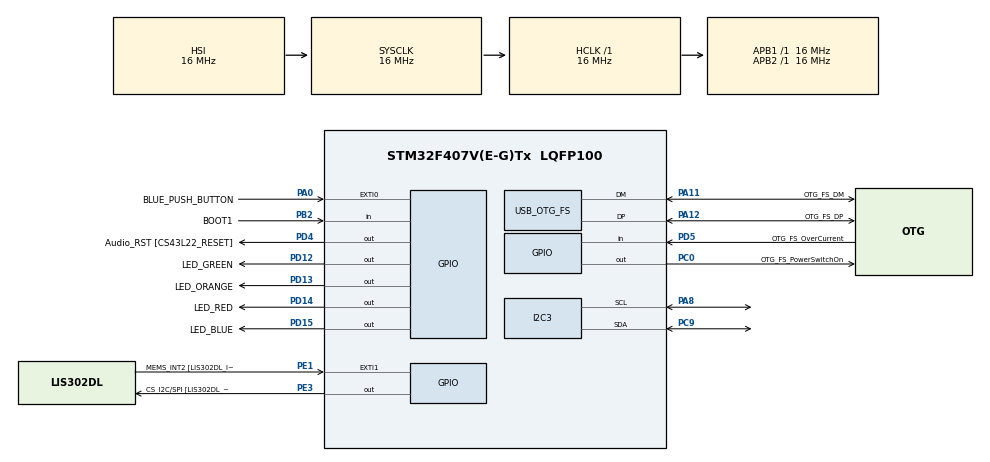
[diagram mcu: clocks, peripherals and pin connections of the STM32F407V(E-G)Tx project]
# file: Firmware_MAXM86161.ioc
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Mcu.Family=STM32F4
Mcu.Name=STM32F407V(E-G)Tx
Mcu.Package=LQFP100
NVIC.EXTI0_IRQn=true\:0\:0\:false\:false\:true\:true\:true
NVIC.OTG_FS_IRQn=true\:0\:0\:false\:false\:true\:false\:true
NVIC.PriorityGroup=NVIC_PRIORITYGROUP_0
PA0-WKUP.GPIO_Label=BLUE_PUSH_BUTTON
PA0-WKUP.GPIO_ModeDefaultEXTI=GPIO_MODE_IT_FALLING
PA0-WKUP.Signal=GPXTI0
PA10.GPIO_Label=OTG_FS_ID
PA10.GPIO_Mode=GPIO_MODE_AF_PP
PA10.GPIO_PuPd=GPIO_NOPULL
PA10.GPIO_Speed=GPIO_SPEED_FREQ_LOW
PA10.Signal=USB_OTG_FS_ID
PA11.GPIO_Label=OTG_FS_DM
PA11.GPIO_Mode=GPIO_MODE_AF_PP
PA11.GPIO_PuPd=GPIO_NOPULL
PA11.GPIO_Speed=GPIO_SPEED_FREQ_LOW
PA11.Mode=Device_Only
PA11.Signal=USB_OTG_FS_DM
PA12.GPIO_Label=OTG_FS_DP
PA12.GPIO_Mode=GPIO_MODE_AF_PP
PA12.GPIO_PuPd=GPIO_NOPULL
PA12.GPIO_Speed=GPIO_SPEED_FREQ_LOW
PA12.Mode=Device_Only
PA12.Signal=USB_OTG_FS_DP
PA13.GPIO_Label=SWDIO
PA13.Signal=SYS_JTMS-SWDIO
PA14.GPIO_Label=SWCLK
PA14.Signal=SYS_JTCK-SWCLK
PA4.GPIO_Label=I2S3_WS [CS43L22_LRCK]
PA4.GPIO_Mode=GPIO_MODE_AF_PP
PA4.GPIO_PuPd=GPIO_NOPULL
PA4.GPIO_Speed=GPIO_SPEED_FREQ_LOW
PA4.Signal=I2S3_WS
PA5.GPIO_Label=SPI1_SCK [LIS302DL_SCL/SPC]
PA5.GPIO_Mode=GPIO_MODE_AF_PP
PA5.GPIO_PuPd=GPIO_NOPULL
PA5.GPIO_Speed=GPIO_SPEED_FREQ_LOW
PA5.Signal=SPI1_SCK
PA6.GPIO_Label=SPI1_MISO [LIS302DL_SDO]
PA6.GPIO_Mode=GPIO_MODE_AF_PP
PA6.GPIO_PuPd=GPIO_NOPULL
PA6.GPIO_Speed=GPIO_SPEED_FREQ_LOW
PA6.Signal=SPI1_MISO
PA7.GPIO_Label=SPI1_MOSI [LIS302DL_SDA/SDI/SDO]
PA7.GPIO_Mode=GPIO_MODE_AF_PP
PA7.GPIO_PuPd=GPIO_NOPULL
PA7.GPIO_Speed=GPIO_SPEED_FREQ_LOW
PA7.Signal=SPI1_MOSI
PA8.GPIO_Pu=GPIO_PULLUP
PA8.GPIO_Speed=GPIO_SPEED_FREQ_MEDIUM
PA8.Mode=I2C
PA8.Signal=I2C3_SCL
PA9.GPIO_Label=VBUS_FS
PA9.GPIO_Mode=GPIO_MODE_INPUT
PA9.GPIO_PuPd=GPIO_NOPULL
PA9.Signal=USB_OTG_FS_VBUS
PB10.GPIO_Label=CLK_IN [MP45DT02_CLK]
PB10.GPIO_Mode=GPIO_MODE_AF_PP
PB10.GPIO_PuPd=GPIO_NOPULL
PB10.GPIO_Speed=GPIO_SPEED_FREQ_LOW
PB10.Signal=I2S2_CK
PB2.GPIO_Label=BOOT1
PB2.GPIO_Mode=GPIO_MODE_INPUT
PB2.GPIO_PuPd=GPIO_NOPULL
PB2.Signal=GPIO_Input
PB3.GPIO_Label=SWO
PB3.Signal=SYS_JTDO-SWO
PB6.GPIO_Label=Audio_SCL [CS43L22_SCL]
PB6.GPIO_Mode=GPIO_MODE_AF_OD
PB6.GPIO_PuPd=GPIO_NOPULL
PB6.GPIO_Speed=GPIO_SPEED_FREQ_LOW
PB6.Signal=I2C1_SCL
PB9.GPIO_Label=Audio_SDA [CS43L22_SDA]
PB9.GPIO_Mode=GPIO_MODE_AF_OD
PB9.GPIO_PuPd=GPIO_NOPULL
PB9.GPIO_Speed=GPIO_SPEED_FREQ_LOW
PB9.Signal=I2C1_SDA
PC0.GPIO_Label=OTG_FS_PowerSwitchOn
PC0.GPIO_PuPd=GPIO_NOPULL
PC0.GPIO_Speed=GPIO_SPEED_FREQ_LOW
PC0.PinState=GPIO_PIN_SET
PC0.Signal=GPIO_Output
PC10.GPIO_Label=I2S3_SCK [CS43L22_SCLK]
PC10.GPIO_Mode=GPIO_MODE_AF_PP
PC10.GPIO_PuPd=GPIO_NOPULL
PC10.GPIO_Speed=GPIO_SPEED_FREQ_LOW
PC10.Signal=I2S3_CK
PC12.GPIO_Label=I2S3_SD [CS43L22_SDIN]
PC12.GPIO_Mode=GPIO_MODE_AF_PP
PC12.GPIO_PuPd=GPIO_NOPULL
PC12.GPIO_Speed=GPIO_SPEED_FREQ_LOW
PC12.Signal=I2S3_SD
PC14-OSC32_IN.GPIO_Label=PC14-OSC32_IN
PC14-OSC32_IN.Signal=RCC_OSC32_IN
PC15-OSC32_OUT.GPIO_Label=PC15-OSC32_OUT
PC15-OSC32_OUT.Signal=RCC_OSC32_OUT
PC3.GPIO_Label=PDM_OUT [MP45DT02_DOUT]
PC3.GPIO_Mode=GPIO_MODE_AF_PP
PC3.GPIO_PuPd=GPIO_NOPULL
PC3.GPIO_Speed=GPIO_SPEED_FREQ_LOW
PC3.Signal=I2S2_SD
PC7.GPIO_Label=I2S3_MCK [CS43L22_MCLK]
PC7.GPIO_Mode=GPIO_MODE_AF_PP
PC7.GPIO_PuPd=GPIO_NOPULL
PC7.GPIO_Speed=GPIO_SPEED_FREQ_LOW
PC7.Signal=I2S3_MCK
PC9.GPIO_Pu=GPIO_PULLUP
PC9.GPIO_Speed=GPIO_SPEED_FREQ_MEDIUM
PC9.Mode=I2C
PC9.Signal=I2C3_SDA
PD12.GPIO_Label=LED_GREEN
PD12.GPIO_PuPd=GPIO_NOPULL
PD12.GPIO_Speed=GPIO_SPEED_FREQ_LOW
PD12.Signal=GPIO_Output
PD13.GPIO_Label=LED_ORANGE
PD13.GPIO_PuPd=GPIO_NOPULL
PD13.GPIO_Speed=GPIO_SPEED_FREQ_LOW
PD13.Signal=GPIO_Output
PD14.GPIO_Label=LED_RED
PD14.GPIO_PuPd=GPIO_NOPULL
PD14.GPIO_Speed=GPIO_SPEED_FREQ_LOW
PD14.Signal=GPIO_Output
PD15.GPIO_Label=LED_BLUE
PD15.GPIO_PuPd=GPIO_NOPULL
PD15.GPIO_Speed=GPIO_SPEED_FREQ_LOW
PD15.Signal=GPIO_Output
PD4.GPIO_Label=Audio_RST [CS43L22_RESET]
PD4.GPIO_PuPd=GPIO_NOPULL
PD4.GPIO_Speed=GPIO_SPEED_FREQ_LOW
PD4.Signal=GPIO_Output
PD5.GPIO_Label=OTG_FS_OverCurrent
PD5.GPIO_Mode=GPIO_MODE_INPUT
PD5.GPIO_PuPd=GPIO_NOPULL
PD5.Signal=GPIO_Input
PE1.GPIO_Label=MEMS_INT2 [LIS302DL_INT2]
PE1.GPIO_ModeDefaultEXTI=GPIO_MODE_EVT_RISING
PE1.GPIO_PuPd=GPIO_NOPULL
PE1.Signal=GPXTI1
PE3.GPIO_Label=CS_I2C/SPI [LIS302DL_CS_I2C/SPI]
PE3.GPIO_PuPd=GPIO_NOPULL
PE3.GPIO_Speed=GPIO_SPEED_FREQ_LOW
PE3.Signal=GPIO_Output
PH0-OSC_IN.GPIO_Label=PH0-OSC_IN
PH0-OSC_IN.Mode=HSE-External-Oscillator
PH0-OSC_IN.Signal=RCC_OSC_IN
PH1-OSC_OUT.GPIO_Label=PH1-OSC_OUT
PH1-OSC_OUT.Mode=HSE-External-Oscillator
PH1-OSC_OUT.Signal=RCC_OSC_OUT
ProjectManager.HeapSize=0x200
ProjectManager.StackSize=0x400
ProjectManager.TargetToolchain=STM32CubeIDE
RCC.48MHZClocksFreq_Value=48000000
RCC.AHBFreq_Value=16000000
RCC.APB1Freq_Value=16000000
RCC.APB1TimFreq_Value=16000000
RCC.APB2Freq_Value=16000000
RCC.APB2TimFreq_Value=16000000
RCC.CortexFreq_Value=16000000
RCC.HCLKFreq_Value=16000000
RCC.HSE_VALUE=8000000
RCC.HSI_VALUE=16000000
RCC.LSE_VALUE=32768
RCC.PLLM=8
RCC.PLLN=336
RCC.PLLP=RCC_PLLP_DIV4
RCC.PLLQ=7
RCC.SYSCLKFreq_VALUE=16000000
RCC.VCOOutputFreq_Value=336000000
USB_DEVICE.CLASS_NAME_FS=CDC
USB_DEVICE.VirtualMode-CDC_FS=Cdc
USB_DEVICE.VirtualModeFS=Cdc_FS
USB_OTG_FS.VirtualMode=Device_Only
VP_USB_DEVICE_VS_USB_DEVICE_CDC_FS.Mode=CDC_FS
board=STM32F407G-DISC1

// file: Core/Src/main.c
/* USER CODE BEGIN Header */
/**
 ******************************************************************************
 * @file           : main.c
 * @brief          : Main program body
 ******************************************************************************
 * @attention
 *
 * <h2><center>&copy; Copyright (c) 2021 STMicroelectronics.
 * All rights reserved.</center></h2>
 *
 * This software component is licensed by ST under BSD 3-Clause license,
 * the "License"; You may not use this file except in compliance with the
 * License. You may obtain a copy of the License at:
 *                        opensource.org/licenses/BSD-3-Clause
 *
 ******************************************************************************
 */
/* USER CODE END Header */
#include "main.h"
#include "usb_device.h"

/* USER CODE BEGIN Includes */
#include "MAXM86161/MAXM86161.h"
#include "usbd_cdc_if.h"
/* USER CODE END Includes */

/* USER CODE BEGIN PTD */

typedef enum {
	SYS_IDLE, SYS_START_UP, SYS_STREAM, SYS_ERROR
} SystemState;

typedef struct{
	SystemState state;
} DiscoveryFSM;

MAXM86161_Init_TypeDef ppg_init;
uint8_t samples[14] = {0};
/* USER CODE END PTD */

I2C_HandleTypeDef hi2c3;

/* USER CODE BEGIN PV */

DiscoveryFSM discovery;

/* USER CODE END PV */

void SystemClock_Config(void);
static void MX_GPIO_Init(void);
static void MX_I2C3_Init(void);
/* USER CODE BEGIN PFP */
bool readDataFromPPGAndSendUSB(void);
void setSystemState(SystemState state);
SystemState getSystemState(void);
/* USER CODE END PFP */

int main(void)
{

  /* MCU Configuration--------------------------------------------------------*/

  /* Reset of all peripherals, Initializes the Flash interface and the Systick. */
  HAL_Init();

  /* Configure the system clock */
  SystemClock_Config();

  /* Initialize all configured peripherals */
  MX_GPIO_Init();
  MX_I2C3_Init();
  MX_USB_DEVICE_Init();
  /* USER CODE BEGIN 2 */
  HAL_Delay(500);

  setSystemState(SYS_START_UP);

  if (MAXM86161_Read_Part_ID() == MAXM86161_PART_ID_VALUE) {
	  ppg_init.shutdown = MAXM86161_SHDNMODE_SHUTDOWN;
	  ppg_init.integration_time = MAXM86161_IT_4;
	  ppg_init.full_scale = MAXM86161_FS_16384;
	  ppg_init.sample_avg = MAXM86161_NO_AVG;
	  ppg_init.frequency = MAXM86161_SR_100HZ;
	  ppg_init.low_power = MAXM86161_LPMODE_OFF;

	  ppg_init.led1_range = MAXM86161_LED1_RGE_0;
	  ppg_init.led2_range = MAXM86161_LED2_RGE_0;
	  ppg_init.led3_range = MAXM86161_LED3_RGE_0;

	  ppg_init.pa[0] = 0x50; //GREEN
	  ppg_init.pa[1] = 0x50;//IR
	  ppg_init.pa[2] = 0x50;//RED

	  ppg_init.fifo_rollover = MAXM86161_FIFO_ROLLOVER_OFF;
	  ppg_init.led_lenght = MAXM86161_LED_SETLNG_3;
  } else {
	  setSystemState(SYS_ERROR);
  }
  /* USER CODE END 2 */

  /* Infinite loop */
  /* USER CODE BEGIN WHILE */
  while (1) {
	  switch (discovery.state){
	  case SYS_START_UP:
		  if(MAXM86161_Config(ppg_init))
			  setSystemState(SYS_IDLE);
		  else
			  setSystemState(SYS_ERROR);
		  break;
	  case SYS_IDLE:
		  break;
	  case SYS_STREAM:
		  if (!readDataFromPPGAndSendUSB()){
			  setSystemState(SYS_ERROR);
		  }
		  break;
	  case SYS_ERROR:
		  break;
	  default:
		  break;
	  }
  }
  /* USER CODE END WHILE */

}

void SystemClock_Config(void)
{
  RCC_OscInitTypeDef RCC_OscInitStruct = {0};
  RCC_ClkInitTypeDef RCC_ClkInitStruct = {0};

  /** Configure the main internal regulator output voltage
  */
  __HAL_RCC_PWR_CLK_ENABLE();
  __HAL_PWR_VOLTAGESCALING_CONFIG(PWR_REGULATOR_VOLTAGE_SCALE1);
  /** Initializes the RCC Oscillators according to the specified parameters
  * in the RCC_OscInitTypeDef structure.
  */
  RCC_OscInitStruct.OscillatorType = RCC_OSCILLATORTYPE_HSI|RCC_OSCILLATORTYPE_HSE;
  RCC_OscInitStruct.HSEState = RCC_HSE_ON;
  RCC_OscInitStruct.HSIState = RCC_HSI_ON;
  RCC_OscInitStruct.HSICalibrationValue = RCC_HSICALIBRATION_DEFAULT;
  RCC_OscInitStruct.PLL.PLLState = RCC_PLL_ON;
  RCC_OscInitStruct.PLL.PLLSource = RCC_PLLSOURCE_HSE;
  RCC_OscInitStruct.PLL.PLLM = 8;
  RCC_OscInitStruct.PLL.PLLN = 336;
  RCC_OscInitStruct.PLL.PLLP = RCC_PLLP_DIV4;
  RCC_OscInitStruct.PLL.PLLQ = 7;
  if (HAL_RCC_OscConfig(&RCC_OscInitStruct) != HAL_OK)
  {
    Error_Handler();
  }
  /** Initializes the CPU, AHB and APB buses clocks
  */
  RCC_ClkInitStruct.ClockType = RCC_CLOCKTYPE_HCLK|RCC_CLOCKTYPE_SYSCLK
                              |RCC_CLOCKTYPE_PCLK1|RCC_CLOCKTYPE_PCLK2;
  RCC_ClkInitStruct.SYSCLKSource = RCC_SYSCLKSOURCE_HSI;
  RCC_ClkInitStruct.AHBCLKDivider = RCC_SYSCLK_DIV1;
  RCC_ClkInitStruct.APB1CLKDivider = RCC_HCLK_DIV1;
  RCC_ClkInitStruct.APB2CLKDivider = RCC_HCLK_DIV1;

  if (HAL_RCC_ClockConfig(&RCC_ClkInitStruct, FLASH_LATENCY_0) != HAL_OK)
  {
    Error_Handler();
  }
}

static void MX_I2C3_Init(void)
{

  hi2c3.Instance = I2C3;
  hi2c3.Init.ClockSpeed = 100000;
  hi2c3.Init.DutyCycle = I2C_DUTYCYCLE_2;
  hi2c3.Init.OwnAddress1 = 0;
  hi2c3.Init.AddressingMode = I2C_ADDRESSINGMODE_7BIT;
  hi2c3.Init.DualAddressMode = I2C_DUALADDRESS_DISABLE;
  hi2c3.Init.OwnAddress2 = 0;
  hi2c3.Init.GeneralCallMode = I2C_GENERALCALL_DISABLE;
  hi2c3.Init.NoStretchMode = I2C_NOSTRETCH_DISABLE;
  if (HAL_I2C_Init(&hi2c3) != HAL_OK)
  {
    Error_Handler();
  }

}

static void MX_GPIO_Init(void)
{
  GPIO_InitTypeDef GPIO_InitStruct = {0};

  /* GPIO Ports Clock Enable */
  __HAL_RCC_GPIOE_CLK_ENABLE();
  __HAL_RCC_GPIOC_CLK_ENABLE();
  __HAL_RCC_GPIOH_CLK_ENABLE();
  __HAL_RCC_GPIOA_CLK_ENABLE();
  __HAL_RCC_GPIOB_CLK_ENABLE();
  __HAL_RCC_GPIOD_CLK_ENABLE();

  /*Configure GPIO pin Output Level */
  HAL_GPIO_WritePin(CS_I2C_SPI_GPIO_Port, CS_I2C_SPI_Pin, GPIO_PIN_RESET);

  /*Configure GPIO pin Output Level */
  HAL_GPIO_WritePin(OTG_FS_PowerSwitchOn_GPIO_Port, OTG_FS_PowerSwitchOn_Pin, GPIO_PIN_SET);

  /*Configure GPIO pin Output Level */
  HAL_GPIO_WritePin(GPIOD, LED_GREEN_Pin|LED_ORANGE_Pin|LED_RED_Pin|LED_BLUE_Pin
                          |Audio_RST_Pin, GPIO_PIN_RESET);

  /*Configure GPIO pin : CS_I2C_SPI_Pin */
  GPIO_InitStruct.Pin = CS_I2C_SPI_Pin;
  GPIO_InitStruct.Mode = GPIO_MODE_OUTPUT_PP;
  GPIO_InitStruct.Pull = GPIO_NOPULL;
  GPIO_InitStruct.Speed = GPIO_SPEED_FREQ_LOW;
  HAL_GPIO_Init(CS_I2C_SPI_GPIO_Port, &GPIO_InitStruct);

  /*Configure GPIO pin : OTG_FS_PowerSwitchOn_Pin */
  GPIO_InitStruct.Pin = OTG_FS_PowerSwitchOn_Pin;
  GPIO_InitStruct.Mode = GPIO_MODE_OUTPUT_PP;
  GPIO_InitStruct.Pull = GPIO_NOPULL;
  GPIO_InitStruct.Speed = GPIO_SPEED_FREQ_LOW;
  HAL_GPIO_Init(OTG_FS_PowerSwitchOn_GPIO_Port, &GPIO_InitStruct);

  /*Configure GPIO pin : PDM_OUT_Pin */
  GPIO_InitStruct.Pin = PDM_OUT_Pin;
  GPIO_InitStruct.Mode = GPIO_MODE_AF_PP;
  GPIO_InitStruct.Pull = GPIO_NOPULL;
  GPIO_InitStruct.Speed = GPIO_SPEED_FREQ_LOW;
  GPIO_InitStruct.Alternate = GPIO_AF5_SPI2;
  HAL_GPIO_Init(PDM_OUT_GPIO_Port, &GPIO_InitStruct);

  /*Configure GPIO pin : BLUE_PUSH_BUTTON_Pin */
  GPIO_InitStruct.Pin = BLUE_PUSH_BUTTON_Pin;
  GPIO_InitStruct.Mode = GPIO_MODE_IT_FALLING;
  GPIO_InitStruct.Pull = GPIO_NOPULL;
  HAL_GPIO_Init(BLUE_PUSH_BUTTON_GPIO_Port, &GPIO_InitStruct);

  /*Configure GPIO pin : I2S3_WS_Pin */
  GPIO_InitStruct.Pin = I2S3_WS_Pin;
  GPIO_InitStruct.Mode = GPIO_MODE_AF_PP;
  GPIO_InitStruct.Pull = GPIO_NOPULL;
  GPIO_InitStruct.Speed = GPIO_SPEED_FREQ_LOW;
  GPIO_InitStruct.Alternate = GPIO_AF6_SPI3;
  HAL_GPIO_Init(I2S3_WS_GPIO_Port, &GPIO_InitStruct);

  /*Configure GPIO pins : SPI1_SCK_Pin SPI1_MISO_Pin SPI1_MOSI_Pin */
  GPIO_InitStruct.Pin = SPI1_SCK_Pin|SPI1_MISO_Pin|SPI1_MOSI_Pin;
  GPIO_InitStruct.Mode = GPIO_MODE_AF_PP;
  GPIO_InitStruct.Pull = GPIO_NOPULL;
  GPIO_InitStruct.Speed = GPIO_SPEED_FREQ_LOW;
  GPIO_InitStruct.Alternate = GPIO_AF5_SPI1;
  HAL_GPIO_Init(GPIOA, &GPIO_InitStruct);

  /*Configure GPIO pin : BOOT1_Pin */
  GPIO_InitStruct.Pin = BOOT1_Pin;
  GPIO_InitStruct.Mode = GPIO_MODE_INPUT;
  GPIO_InitStruct.Pull = GPIO_NOPULL;
  HAL_GPIO_Init(BOOT1_GPIO_Port, &GPIO_InitStruct);

  /*Configure GPIO pin : CLK_IN_Pin */
  GPIO_InitStruct.Pin = CLK_IN_Pin;
  GPIO_InitStruct.Mode = GPIO_MODE_AF_PP;
  GPIO_InitStruct.Pull = GPIO_NOPULL;
  GPIO_InitStruct.Speed = GPIO_SPEED_FREQ_LOW;
  GPIO_InitStruct.Alternate = GPIO_AF5_SPI2;
  HAL_GPIO_Init(CLK_IN_GPIO_Port, &GPIO_InitStruct);

  /*Configure GPIO pins : LED_GREEN_Pin LED_ORANGE_Pin LED_RED_Pin LED_BLUE_Pin
                           Audio_RST_Pin */
  GPIO_InitStruct.Pin = LED_GREEN_Pin|LED_ORANGE_Pin|LED_RED_Pin|LED_BLUE_Pin
                          |Audio_RST_Pin;
  GPIO_InitStruct.Mode = GPIO_MODE_OUTPUT_PP;
  GPIO_InitStruct.Pull = GPIO_NOPULL;
  GPIO_InitStruct.Speed = GPIO_SPEED_FREQ_LOW;
  HAL_GPIO_Init(GPIOD, &GPIO_InitStruct);

  /*Configure GPIO pins : I2S3_MCK_Pin I2S3_SCK_Pin I2S3_SD_Pin */
  GPIO_InitStruct.Pin = I2S3_MCK_Pin|I2S3_SCK_Pin|I2S3_SD_Pin;
  GPIO_InitStruct.Mode = GPIO_MODE_AF_PP;
  GPIO_InitStruct.Pull = GPIO_NOPULL;
  GPIO_InitStruct.Speed = GPIO_SPEED_FREQ_LOW;
  GPIO_InitStruct.Alternate = GPIO_AF6_SPI3;
  HAL_GPIO_Init(GPIOC, &GPIO_InitStruct);

  /*Configure GPIO pin : OTG_FS_OverCurrent_Pin */
  GPIO_InitStruct.Pin = OTG_FS_OverCurrent_Pin;
  GPIO_InitStruct.Mode = GPIO_MODE_INPUT;
  GPIO_InitStruct.Pull = GPIO_NOPULL;
  HAL_GPIO_Init(OTG_FS_OverCurrent_GPIO_Port, &GPIO_InitStruct);

  /*Configure GPIO pins : Audio_SCL_Pin Audio_SDA_Pin */
  GPIO_InitStruct.Pin = Audio_SCL_Pin|Audio_SDA_Pin;
  GPIO_InitStruct.Mode = GPIO_MODE_AF_OD;
  GPIO_InitStruct.Pull = GPIO_NOPULL;
  GPIO_InitStruct.Speed = GPIO_SPEED_FREQ_LOW;
  GPIO_InitStruct.Alternate = GPIO_AF4_I2C1;
  HAL_GPIO_Init(GPIOB, &GPIO_InitStruct);

  /*Configure GPIO pin : MEMS_INT2_Pin */
  GPIO_InitStruct.Pin = MEMS_INT2_Pin;
  GPIO_InitStruct.Mode = GPIO_MODE_EVT_RISING;
  GPIO_InitStruct.Pull = GPIO_NOPULL;
  HAL_GPIO_Init(MEMS_INT2_GPIO_Port, &GPIO_InitStruct);

  /* EXTI interrupt init*/
  HAL_NVIC_SetPriority(EXTI0_IRQn, 0, 0);
  HAL_NVIC_EnableIRQ(EXTI0_IRQn);

}

/* USER CODE BEGIN 4 */
bool readDataFromPPGAndSendUSB(){
	bool result = true;

	samples[0] = '?';
	samples[1] = '!';

	result &= MAXM86161_ReadData(samples + 3, samples + 7, samples + 11);
	result &= CDC_Transmit_FS(samples, 14) == USBD_OK;
	HAL_Delay(10);

	return result;
}

SystemState getSystemState(void) {
	return discovery.state;
}

void setSystemState(SystemState state){
	if(getSystemState() != state){
		reset_all_leds();
		switch(state){
		case SYS_START_UP:
			HAL_GPIO_WritePin(LED_ORANGE_GPIO_Port,LED_ORANGE_Pin,GPIO_PIN_SET);
			break;
		case SYS_IDLE:
			HAL_GPIO_WritePin(LED_GREEN_GPIO_Port,LED_GREEN_Pin,GPIO_PIN_SET);
			break;
		case SYS_STREAM:
			HAL_GPIO_WritePin(LED_BLUE_GPIO_Port,LED_BLUE_Pin,GPIO_PIN_SET);
			break;
		case SYS_ERROR:
			HAL_GPIO_WritePin(LED_RED_GPIO_Port,LED_RED_Pin,GPIO_PIN_SET);
			ppg_init.shutdown = MAXM86161_SHDNMODE_SHUTDOWN;
			MAXM86161_Config(ppg_init);
			break;
		default:
			break;
		}
		discovery.state = state;
	}
}

void manage_button_push(void) {
	switch (getSystemState()) {
	case SYS_IDLE:
		ppg_init.shutdown = MAXM86161_SHDNMODE_ON;
		if(MAXM86161_Config(ppg_init))
			setSystemState(SYS_STREAM);
		else
			setSystemState(SYS_ERROR);
		break;
	case SYS_STREAM:
		ppg_init.shutdown = MAXM86161_SHDNMODE_SHUTDOWN;
		if(MAXM86161_Config(ppg_init))
			setSystemState(SYS_IDLE);
		else
			setSystemState(SYS_ERROR);
		break;
	default:
		break;
	}
}

void reset_all_leds(void) {
	HAL_GPIO_WritePin(LED_ORANGE_GPIO_Port,LED_ORANGE_Pin,GPIO_PIN_RESET);
	HAL_GPIO_WritePin(LED_GREEN_GPIO_Port,LED_GREEN_Pin,GPIO_PIN_RESET);
	HAL_GPIO_WritePin(LED_BLUE_GPIO_Port,LED_BLUE_Pin,GPIO_PIN_RESET);
	HAL_GPIO_WritePin(LED_RED_GPIO_Port,LED_RED_Pin,GPIO_PIN_RESET);
}

/* USER CODE END 4 */

void Error_Handler(void)
{
	__disable_irq();
	while (1) {
	}
}

/************************ (C) COPYRIGHT STMicroelectronics *****END OF FILE****/
